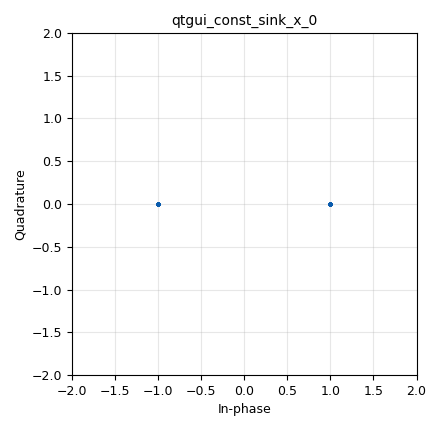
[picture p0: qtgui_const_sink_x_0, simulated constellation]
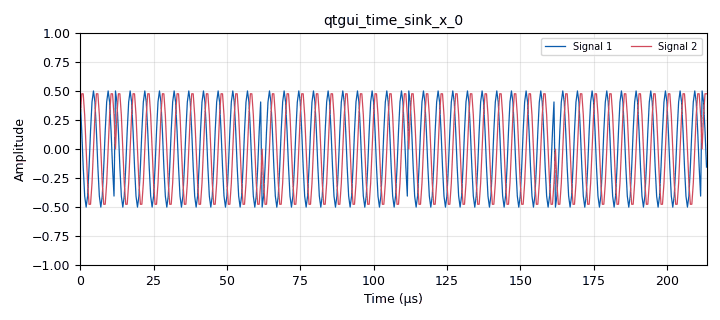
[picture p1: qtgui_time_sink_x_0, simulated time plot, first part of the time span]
options:
  parameters:
    generate_options: qt_gui
    id: bpsk_flowgraph
    output_language: python
    title: bpsk modulation
  states: {}

blocks:
- name: samp_rate
  id: variable
  parameters:
    value: '2000000'
  states: {}
- name: analog_sig_source_x_0
  id: analog_sig_source_x
  parameters:
    amp: '0.5'
    freq: 2E5
    offset: '0'
    phase: '0'
    samp_rate: samp_rate
    type: complex
    waveform: analog.GR_COS_WAVE
  states: {}
- name: blocks_complex_to_float_0
  id: blocks_complex_to_float
  parameters: {}
  states: {}
- name: blocks_multiply_xx_0
  id: blocks_multiply_xx
  parameters:
    type: complex
  states: {}
- name: blocks_repeat_0
  id: blocks_repeat
  parameters:
    interp: '100'
    type: byte
  states: {}
- name: blocks_throttle2_0
  id: blocks_throttle2
  parameters:
    samples_per_second: '32000'
    type: complex
  states: {}
- name: blocks_vector_source_x_0
  id: blocks_vector_source_x
  parameters:
    repeat: 'True'
    type: byte
    vector: '[0, 1]'
  states: {}
- name: epy_block_0
  id: epy_block
  parameters:
    _source_code: |-
      """
      Embedded Python Block - BPSK Modulator
      Convertit des bits (0 et 1) en symboles BPSK
      """

      import numpy as np
      from gnuradio import gr

      class blk(gr.sync_block):
          """Bloc de modulation BPSK"""

          def __init__(self):
              gr.sync_block.__init__(
                  self,
                  name='BPSK Modulator',
                  in_sig=[np.uint8],
                  out_sig=[np.complex64]
              )

          def work(self, input_items, output_items):
              """Convertit les bits en symboles BPSK"""
              bits = input_items[0]
              out = output_items[0]
              
              # BPSK : bit 0 -> +1, bit 1 -> -1
              for i in range(len(bits)):
                  if bits[i] == 0:
                      out[i] = complex(1.0, 0.0)
                  else:
                      out[i] = complex(-1.0, 0.0)
              
              return len(bits)
  states: {}
- name: qtgui_const_sink_x_0
  id: qtgui_const_sink_x
  parameters:
    size: '1024'
    type: complex
  states: {}
- name: qtgui_time_sink_x_0
  id: qtgui_time_sink_x
  parameters:
    entags: 'False'
    nconnections: '2'
    size: '1024'
    srate: samp_rate
    type: float
  states: {}

connections:
- [analog_sig_source_x_0, '0', blocks_multiply_xx_0, '1']
- [blocks_complex_to_float_0, '0', qtgui_time_sink_x_0, '0']
- [blocks_complex_to_float_0, '1', qtgui_time_sink_x_0, '1']
- [blocks_multiply_xx_0, '0', blocks_throttle2_0, '0']
- [blocks_repeat_0, '0', epy_block_0, '0']
- [blocks_throttle2_0, '0', blocks_complex_to_float_0, '0']
- [blocks_vector_source_x_0, '0', blocks_repeat_0, '0']
- [epy_block_0, '0', blocks_multiply_xx_0, '0']
- [epy_block_0, '0', qtgui_const_sink_x_0, '0']

metadata:
  file_format: 1
  grc_version: 3.10.12.0
